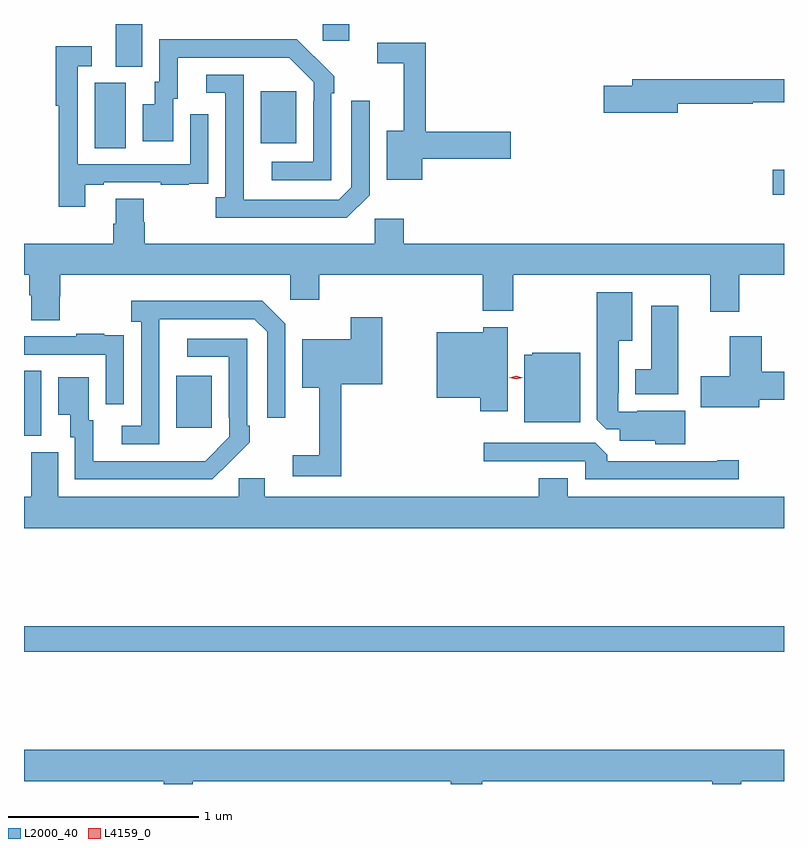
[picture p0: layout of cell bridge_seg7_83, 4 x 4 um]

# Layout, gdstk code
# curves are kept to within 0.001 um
import gdstk
lib = gdstk.Library(unit=1e-6, precision=1e-09)
def R(c, l, rs):  # rectangles x0, y0, x1, y1
    for r in rs: c.add(gdstk.rectangle(r[:2], r[2:], *l))
def P(c, l, *ps):  # polygons
    for p in ps: c.add(gdstk.Polygon(p, *l))
L2000_40 = (2000, 40)
L4159_0 = (4159, 0)

bridge_seg7_83 = lib.new_cell('bridge_seg7_83')
R(bridge_seg7_83, L2000_40, [(1092.02,1005.292,1096.02,1005.428), (1092.02,1006.429,1092.112,1006.772), (1092.821,1006.473,1093.009,1006.747), (1095.96,1007.699,1096.02,1007.829), (1092.392,1007.944,1092.556,1008.288), (1093.265,1007.969,1093.453,1008.244), (1092.503,1008.373,1092.643,1008.597), (1093.593,1008.51,1093.732,1008.597)])
P(bridge_seg7_83, L2000_40, [(1093.638,1008.233),(1093.653,1008.233),(1093.653,1008.321),(1093.456,1008.516),(1092.732,1008.516),(1092.732,1008.294),(1092.707,1008.294),(1092.707,1008.175),(1092.644,1008.175),(1092.644,1007.979),(1092.805,1007.979),(1092.805,1008.204),(1092.829,1008.204),(1092.829,1008.42),(1093.417,1008.42),(1093.545,1008.291),(1093.545,1008.191),(1093.542,1008.191),(1093.542,1007.871),(1093.323,1007.871),(1093.323,1007.775),(1093.638,1007.775)],
  [(1094.116,1007.887),(1094.581,1007.887),(1094.581,1008.029),(1094.135,1008.029),(1094.135,1008.498),(1093.878,1008.498),(1093.878,1008.39),(1094.018,1008.39),(1094.018,1008.034),(1093.928,1008.034),(1093.928,1007.777),(1094.116,1007.777)],
  [(1092.343,1007.751),(1092.439,1007.751),(1092.439,1007.763),(1092.739,1007.763),(1092.739,1007.751),(1092.887,1007.751),(1092.887,1007.757),(1092.989,1007.757),(1092.989,1007.866),(1092.99,1007.866),(1092.99,1008.121),(1092.894,1008.121),(1092.894,1007.859),(1092.303,1007.859),(1092.303,1008.375),(1092.376,1008.375),(1092.376,1008.481),(1092.187,1008.481),(1092.187,1008.168),(1092.202,1008.168),(1092.202,1007.634),(1092.343,1007.634)],
  [(1093.839,1007.697),(1093.839,1008.193),(1093.743,1008.193),(1093.743,1007.739),(1093.677,1007.673),(1093.177,1007.673),(1093.176,1008.33),(1092.978,1008.33),(1092.978,1008.234),(1093.08,1008.234),(1093.08,1007.686),(1093.029,1007.686),(1093.029,1007.576),(1093.718,1007.576)],
  [(1095.46,1008.178),(1095.856,1008.178),(1095.856,1008.186),(1096.02,1008.186),(1096.02,1008.307),(1095.221,1008.307),(1095.221,1008.273),(1095.072,1008.273),(1095.072,1008.131),(1095.46,1008.131)],
  [(1092.207,1007.163),(1092.212,1007.163),(1092.212,1007.276),(1093.422,1007.276),(1093.422,1007.145),(1093.574,1007.145),(1093.574,1007.276),(1094.435,1007.276),(1094.435,1007.087),(1094.595,1007.087),(1094.595,1007.276),(1095.632,1007.276),(1095.632,1007.082),(1095.785,1007.082),(1095.785,1007.276),(1096.02,1007.276),(1096.02,1007.44),(1094.018,1007.44),(1094.018,1007.572),(1093.866,1007.572),(1093.866,1007.44),(1092.656,1007.44),(1092.656,1007.553),(1092.651,1007.553),(1092.651,1007.678),(1092.503,1007.678),(1092.503,1007.546),(1092.491,1007.546),(1092.491,1007.44),(1092.02,1007.44),(1092.02,1007.276),(1092.047,1007.276),(1092.047,1007.17),(1092.059,1007.17),(1092.059,1007.038),(1092.207,1007.038)],
  [(1095.499,1006.561),(1095.247,1006.561),(1095.247,1006.557),(1095.147,1006.557),(1095.147,1006.657),(1095.151,1006.657),(1095.151,1006.931),(1095.22,1006.931),(1095.22,1007.185),(1095.035,1007.185),(1095.035,1006.513),(1095.084,1006.464),(1095.155,1006.464),(1095.155,1006.403),(1095.342,1006.403),(1095.342,1006.385),(1095.499,1006.385)],
  [(1092.732,1006.843),(1092.733,1007.043),(1093.233,1007.043),(1093.299,1006.977),(1093.299,1006.524),(1093.395,1006.524),(1093.395,1007.019),(1093.274,1007.14),(1092.585,1007.14),(1092.585,1007.03),(1092.636,1007.03),(1092.636,1006.482),(1092.534,1006.482),(1092.534,1006.386),(1092.732,1006.386)],
  [(1095.463,1007.113),(1095.32,1007.113),(1095.32,1006.78),(1095.236,1006.78),(1095.236,1006.649),(1095.463,1006.649)],
  [(1093.691,1006.7),(1093.906,1006.7),(1093.906,1007.053),(1093.741,1007.053),(1093.741,1006.939),(1093.484,1006.939),(1093.484,1006.682),(1093.574,1006.682),(1093.574,1006.327),(1093.434,1006.327),(1093.434,1006.218),(1093.691,1006.218)],
  [(1094.566,1007.002),(1094.436,1007.002),(1094.436,1006.975),(1094.192,1006.975),(1094.192,1006.631),(1094.42,1006.631),(1094.42,1006.56),(1094.566,1006.56)],
  [(1092.546,1006.85),(1092.545,1006.85),(1092.545,1006.959),(1092.443,1006.959),(1092.443,1006.966),(1092.295,1006.966),(1092.295,1006.953),(1092.02,1006.953),(1092.02,1006.857),(1092.45,1006.857),(1092.45,1006.596),(1092.546,1006.596)],
  [(1095.889,1006.619),(1096.02,1006.619),(1096.02,1006.766),(1095.902,1006.766),(1095.902,1006.954),(1095.734,1006.954),(1095.734,1006.743),(1095.582,1006.743),(1095.582,1006.58),(1095.889,1006.58)],
  [(1093.103,1006.291),(1093.104,1006.29),(1093.209,1006.395),(1093.209,1006.483),(1093.194,1006.483),(1093.194,1006.941),(1092.879,1006.941),(1092.879,1006.845),(1093.098,1006.845),(1093.098,1006.525),(1093.101,1006.525),(1093.101,1006.425),(1092.973,1006.297),(1092.385,1006.296),(1092.385,1006.512),(1092.361,1006.512),(1092.361,1006.738),(1092.2,1006.738),(1092.2,1006.541),(1092.263,1006.541),(1092.263,1006.422),(1092.288,1006.422),(1092.288,1006.2),(1093.012,1006.2)],
  [(1094.947,1006.867),(1094.694,1006.867),(1094.694,1006.855),(1094.654,1006.855),(1094.654,1006.502),(1094.947,1006.502)],
  [(1095.781,1006.301),(1095.668,1006.301),(1095.668,1006.296),(1095.089,1006.296),(1095.089,1006.33),(1095.027,1006.392),(1094.439,1006.392),(1094.439,1006.296),(1094.973,1006.296),(1094.973,1006.2),(1095.781,1006.2)],
  [(1096.02,1006.108),(1094.881,1006.108),(1094.881,1006.207),(1094.729,1006.207),(1094.729,1006.108),(1093.288,1006.108),(1093.288,1006.206),(1093.149,1006.206),(1093.149,1006.108),(1092.199,1006.108),(1092.199,1006.344),(1092.059,1006.344),(1092.059,1006.108),(1092.02,1006.108),(1092.02,1005.944),(1096.02,1005.944)],
  [(1092.908,1004.612),(1094.267,1004.612),(1094.267,1004.597),(1094.432,1004.597),(1094.432,1004.612),(1095.642,1004.612),(1095.642,1004.597),(1095.794,1004.597),(1095.794,1004.612),(1096.02,1004.612),(1096.02,1004.776),(1092.02,1004.776),(1092.02,1004.612),(1092.756,1004.612),(1092.756,1004.597),(1092.908,1004.597)])
P(bridge_seg7_83, L4159_0, [(1094.61,1006.726),(1094.573,1006.736),(1094.573,1006.736),(1094.573,1006.736),(1094.61,1006.746),(1094.646,1006.735),(1094.646,1006.735),(1094.646,1006.735)])

lib.write_gds('bridge_seg7_83.gds')
